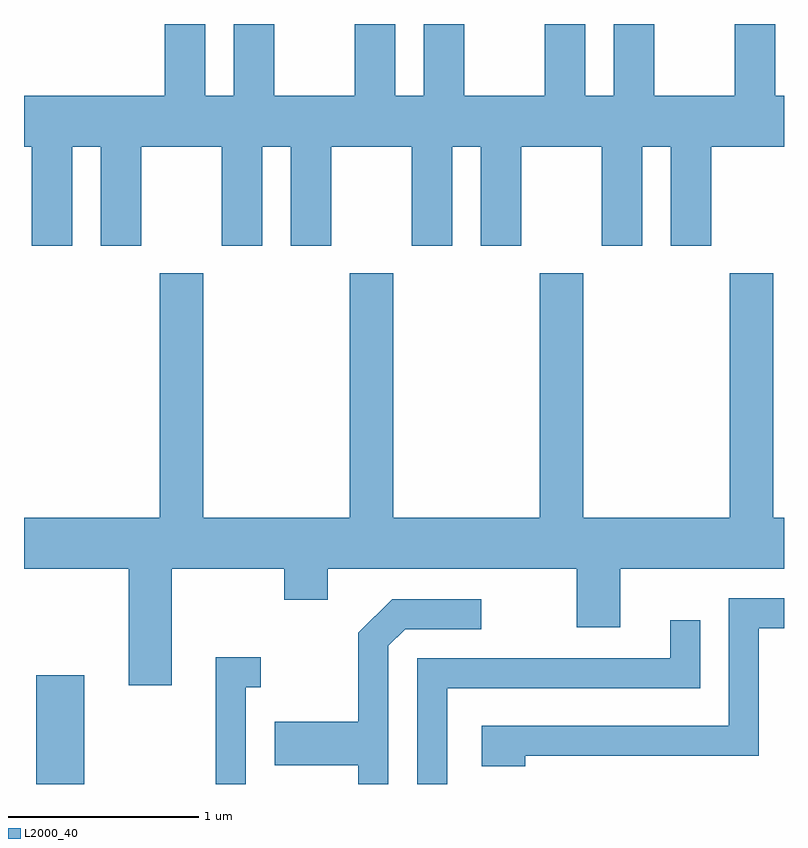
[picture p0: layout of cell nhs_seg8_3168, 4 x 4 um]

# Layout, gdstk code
import gdstk
lib = gdstk.Library(unit=1e-6, precision=1e-09)
def R(c, l, rs):  # rectangles x0, y0, x1, y1
    for r in rs: c.add(gdstk.rectangle(r[:2], r[2:], *l))
def P(c, l, *ps):  # polygons
    for p in ps: c.add(gdstk.Polygon(p, *l))
L2000_40 = (2000, 40)

nhs_seg8_3168 = lib.new_cell('nhs_seg8_3168')
R(nhs_seg8_3168, L2000_40, [(279.676,1886.342,279.929,1886.914)])
P(nhs_seg8_3168, L2000_40, [(279.864,1889.696),(280.016,1889.696),(280.016,1889.176),(280.229,1889.176),(280.229,1889.696),(280.651,1889.696),(280.651,1889.176),(280.864,1889.176),(280.864,1889.696),(281.016,1889.696),(281.016,1889.176),(281.229,1889.176),(281.229,1889.696),(281.651,1889.696),(281.651,1889.176),(281.864,1889.176),(281.864,1889.696),(282.016,1889.696),(282.016,1889.176),(282.229,1889.176),(282.229,1889.696),(282.651,1889.696),(282.651,1889.176),(282.864,1889.176),(282.864,1889.696),(283.016,1889.696),(283.016,1889.176),(283.229,1889.176),(283.229,1889.696),(283.611,1889.696),(283.611,1889.964),(283.564,1889.964),(283.564,1890.342),(283.351,1890.342),(283.351,1889.964),(282.929,1889.964),(282.929,1890.342),(282.716,1890.342),(282.716,1889.964),(282.564,1889.964),(282.564,1890.342),(282.351,1890.342),(282.351,1889.964),(281.929,1889.964),(281.929,1890.342),(281.716,1890.342),(281.716,1889.964),(281.564,1889.964),(281.564,1890.342),(281.351,1890.342),(281.351,1889.964),(280.929,1889.964),(280.929,1890.342),(280.716,1890.342),(280.716,1889.964),(280.564,1889.964),(280.564,1890.342),(280.351,1890.342),(280.351,1889.964),(279.611,1889.964),(279.611,1889.696),(279.651,1889.696),(279.651,1889.176),(279.864,1889.176)],
  [(280.389,1887.476),(280.981,1887.476),(280.981,1887.311),(281.209,1887.311),(281.209,1887.476),(282.521,1887.476),(282.521,1887.166),(282.749,1887.166),(282.749,1887.476),(283.611,1887.476),(283.611,1887.744),(283.554,1887.744),(283.554,1889.029),(283.326,1889.029),(283.326,1887.744),(282.554,1887.744),(282.554,1889.029),(282.326,1889.029),(282.326,1887.744),(281.554,1887.744),(281.554,1889.029),(281.326,1889.029),(281.326,1887.744),(280.554,1887.744),(280.554,1889.029),(280.326,1889.029),(280.326,1887.744),(279.611,1887.744),(279.611,1887.476),(280.161,1887.476),(280.161,1886.861),(280.389,1886.861)],
  [(282.249,1886.491),(283.479,1886.491),(283.479,1887.161),(283.611,1887.161),(283.611,1887.319),(283.321,1887.319),(283.321,1886.649),(282.021,1886.649),(282.021,1886.436),(282.249,1886.436)],
  [(281.529,1887.069),(281.617,1887.156),(282.018,1887.156),(282.018,1887.314),(281.549,1887.314),(281.371,1887.137),(281.371,1886.669),(280.931,1886.669),(280.931,1886.441),(281.371,1886.441),(281.371,1886.342),(281.529,1886.342)],
  [(281.839,1886.846),(283.169,1886.846),(283.169,1887.203),(283.011,1887.203),(283.011,1887.004),(281.681,1887.004),(281.681,1886.342),(281.839,1886.342)],
  [(280.779,1886.851),(280.858,1886.851),(280.858,1887.009),(280.621,1887.009),(280.621,1886.342),(280.779,1886.342)])

lib.write_gds('nhs_seg8_3168.gds')
